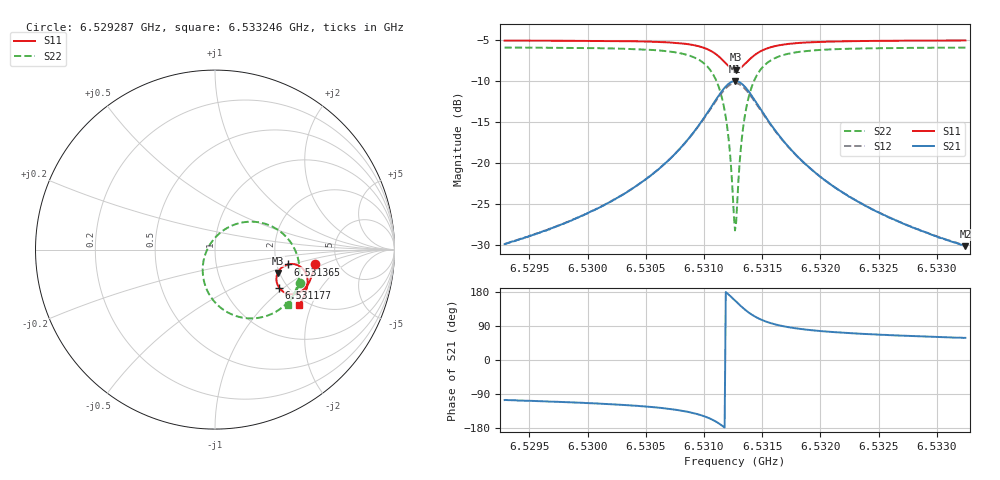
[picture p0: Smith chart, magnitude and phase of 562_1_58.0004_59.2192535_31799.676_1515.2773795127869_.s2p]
#  HZ  S  RI  R  50.00
! Rohde & Schwarz Vector Network Analyzer
! Rohde-Schwarz,ZNB20-2Port,1311601062101988,3.16
! Created: UTC 3/21/2024, 1:15:26 AM
! freq[Hz]  re:S11  im:S11  re:S21  im:S21  re:S12  im:S12  re:S22  im:S22
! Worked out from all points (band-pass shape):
!   401 points, 6.529287 GHz to 6.533246 GHz, reference 50 ohm
!   highest |S21| = -9.94 dB at 6.531266 GHz (marker M1); lowest = -30.1 dB at 6.533246 GHz (marker M2)
!   |S21| within 3 dB of the highest: 6.53107 GHz to 6.531466 GHz (395.7 kHz wide, 0.00606 % of centre)
!   lowest |S11| = -8.6 dB at 6.531276 GHz (marker M3), VSWR 2.19, Z = 97.8 - j29.5 ohm
!   |S11| at or under -10 dB: nowhere
!   |S22| runs from -28.2 to -5.9 dB; largest |S21 - S12| = 0.013
!   S11 on the Smith chart (normalised r, x): 6.529287 GHz: 3.36, -0.77; 6.531177 GHz: 1.81, -0.92; 6.531365 GHz: 2.30, -0.46; 6.533246 GHz: 1.82, -1.64
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6.5292866e9  0.5551 -0.079  -0.00874 -0.031  -0.00939 -0.0308  0.4728 -0.1886
6.5299499e9  0.5433 -0.1346  -0.0187 -0.0442  -0.0198 -0.0437  0.4399 -0.2499
6.5303161e9  0.5309 -0.1688  -0.0314 -0.0573  -0.0329 -0.0565  0.4061 -0.2925
6.5306131e9  0.5128 -0.2013  -0.0544 -0.075  -0.0566 -0.0734  0.3544 -0.3367
6.5308408e9  0.4844 -0.2304  -0.096 -0.0941  -0.0987 -0.0909  0.2708 -0.3743
6.5310091e9  0.4389 -0.2483  -0.1666 -0.099  -0.1686 -0.0921  0.1414 -0.3769
6.531108e9  0.3926 -0.2413  -0.2379 -0.07  -0.2364 -0.06  0.0225 -0.316
6.5311773e9  0.357 -0.2116  -0.2895 -0.00823  -0.2828 0.00177  -0.0534 -0.2036
6.531207e9  0.3466 -0.1902  -0.3028 0.0318  -0.2935 0.0405  -0.0678 -0.1346
6.5312565e9  0.3438 -0.1471  -0.2985 0.1094  -0.2868 0.1135  -0.0475 -0.00888
6.5312664e9  0.3462 -0.1384  -0.293 0.1248  -0.2812 0.1277  -0.036 0.015
6.5312763e9  0.3494 -0.13  -0.286 0.1393  -0.2743 0.1413  -0.022 0.0377
6.5312862e9  0.3536 -0.122  -0.2775 0.1532  -0.2662 0.1542  -0.00601 0.0589
6.5313258e9  0.3766 -0.096  -0.2337 0.1971  -0.224 0.195  0.0729 0.1234
6.5313654e9  0.4051 -0.0827  -0.1825 0.2202  -0.1754 0.2164  0.1612 0.1527
6.5314347e9  0.4501 -0.0831  -0.1039 0.2205  -0.1006 0.2171  0.2922 0.1397
6.5315337e9  0.4889 -0.1067  -0.0373 0.1867  -0.0358 0.1847  0.3995 0.068
6.5316822e9  0.511 -0.1441  0.00218 0.1372  0.00334 0.1364  0.4575 -0.0311
6.5319297e9  0.5156 -0.1882  0.0182 0.0893  0.0193 0.0889  0.4707 -0.131
6.5322266e9  0.5091 -0.2243  0.0203 0.0609  0.0214 0.0606  0.4596 -0.1971
6.5325929e9  0.4967 -0.2583  0.0193 0.0425  0.0201 0.0423  0.4406 -0.2476
6.5332462e9  0.4707 -0.3077  0.0164 0.0266  0.0171 0.0264  0.4058 -0.3065
